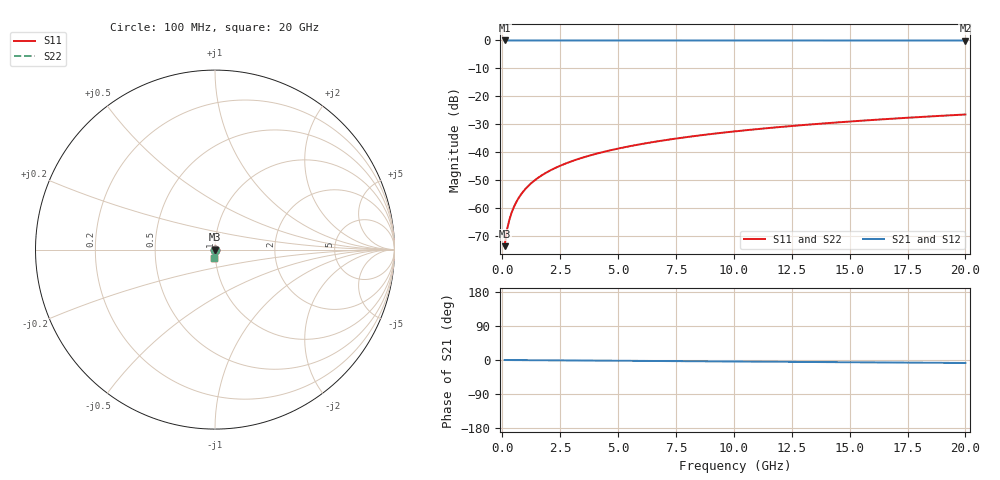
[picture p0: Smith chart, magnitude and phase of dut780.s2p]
! Touchstone file exported from HFSS 2026.1.0
!  File:  C:/ffzhzh/LocalFiles/Ansys_Project_Files/temp_train_TSV_780_1783183651_51560.aedt
!  Generated:  12:48:46 AM Jul  5, 2026
!  Design:  TSV
!  Project:  temp_train_TSV_780_1783183651_51560
! Variables:
!  h_bsmrdl = 2um
!  h_ox = 20um
!  h_rdl = 5um
!  h_sub = 75.63um
!  h_tmrdl = 5um
!  h_tsv = 75.63um
!  h_via = 3um
!  l_bsmrdl = 300um
!  l_sub = 429.64um
!  l_tmrdl = 200um
!  m_sub = 200um
!  pitch = 43.62um
!  r_tsv = 14.82um
!  s_tmrdl = 10um
!  w_bsmrdl = 18um
!  w_sub = 500um
!  w_tmrdl = 12um
!  x_tsv_center1 = 206um
!  x_tsv_center2 = 524um
!  x_tsv_center3 = 736um
!  x_tsv_center4 = 1054um
!  x_tsv_center5 = 1266um
!  x_tsv_center6 = 1584um
# GHz S MA R 50.000000
! Terminal data exported
! Port[1] = TSV1_1_T1
! Port[2] = TSV1_1_T2
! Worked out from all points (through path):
!   200 points, 100 MHz to 20 GHz, reference 50 ohm
!   highest |S21| = 0.00 dB at 100 MHz (marker M1); lowest = 0.0 dB at 20 GHz (marker M2)
!   group delay of S21, straight-line fit = 1.09 ps
!   lowest |S11| = -73.7 dB at 100 MHz (marker M3), VSWR 1.00, Z = 50 - j0.0194 ohm
!   |S11| at or under -10 dB: start of sweep to end of sweep
!   |S22| runs from -73.7 to -26.5 dB; largest |S21 - S12| = 6.2e-15
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0.1  0.0002077 -69.2  0.9999 -0.0  0.9999 -0.0  0.0002077 -69.2
! Gamma 0 0 0 0
! Port Impedance 50 0 50 0
0.2  0.0004024 -77.3  0.9999 -0.1  0.9999 -0.1  0.0004024 -77.3
0.3  0.000608 -79.7  0.9999 -0.1  0.9999 -0.1  0.000608 -79.7
0.4  0.0008221 -80.8  0.9999 -0.2  0.9999 -0.2  0.0008221 -80.8
0.5  0.001043 -81.4  0.9998 -0.2  0.9998 -0.2  0.001043 -81.4
0.7  0.001499 -82.5  0.9998 -0.3  0.9998 -0.3  0.001499 -82.5
0.8  0.001731 -83.0  0.9998 -0.3  0.9998 -0.3  0.001731 -83.0
1  0.002199 -83.9  0.9997 -0.4  0.9997 -0.4  0.002199 -83.9
1.2  0.002668 -84.6  0.9997 -0.5  0.9997 -0.5  0.002668 -84.6
1.4  0.003138 -85.2  0.9997 -0.6  0.9997 -0.6  0.003138 -85.2
1.7  0.003842 -86.0  0.9997 -0.7  0.9997 -0.7  0.003842 -86.0
2  0.004545 -86.6  0.9997 -0.8  0.9997 -0.8  0.004545 -86.6
2.7  0.006186 -87.6  0.9996 -1.1  0.9996 -1.1  0.006186 -87.6
3.5  0.008064 -88.4  0.9995 -1.4  0.9995 -1.4  0.008064 -88.4
4.2  0.009713 -88.9  0.9995 -1.7  0.9995 -1.7  0.009713 -88.9
5  0.0116 -89.5  0.9994 -2.0  0.9994 -2.0  0.0116 -89.5
6.8  0.01587 -90.5  0.9993 -2.7  0.9993 -2.7  0.01587 -90.5
8.3  0.01944 -91.3  0.9991 -3.3  0.9991 -3.3  0.01944 -91.3
10.1  0.02372 -92.2  0.999 -4.0  0.999 -4.0  0.02372 -92.2
13.4  0.03158 -93.8  0.9987 -5.3  0.9987 -5.3  0.03158 -93.8
16.7  0.03943 -95.2  0.9983 -6.6  0.9983 -6.6  0.03943 -95.2
20  0.04728 -96.6  0.9978 -7.9  0.9978 -7.9  0.04728 -96.6
